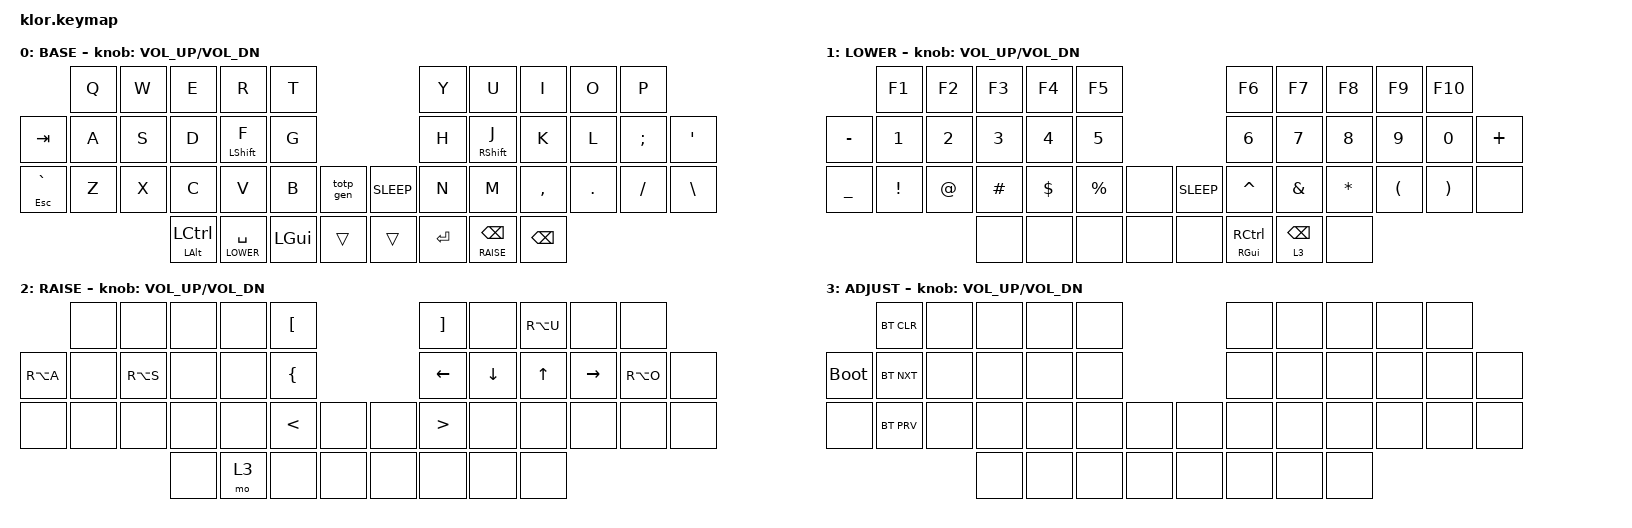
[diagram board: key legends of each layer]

//                               █         █    █            ▄▄▄▀▀▀▀▀▀▄▄▄        █▀▀▀▀▀▀▀▀▀▀█
//                               █        █     █          ▄▀            ▀▄      █          █
//                               █       █      █        ▄▀                ▀▄    █          █
//                               █      █       █        █                  █    █          █
//                               █     █        █       █                    █   █          █
//                               █    █         █       █                    █   █▄▄▄▄▄▄▄▄▄▄█
//                               █   █ █        █       █                    █   █      █
//                               █  █   █       █        █                  █    █       █
//                               █ █     █      █        ▀▄                ▄▀    █        █
//                               ██       █     █          ▀▄            ▄▀      █         █
//                               █         █    █▄▄▄▄▄▄▄▄    ▀▀▀▄▄▄▄▄▄▀▀▀        █          █
//
// ▄▄▄▄▄▄▄▄▄▄▄▄▄▄▄▄▄▄▄▄▄▄▄▄▄▄▄▄▄▄▄▄▄▄▄▄▄▄▄▄▄▄▄▄▄▄▄▄▄▄▄▄▄▄▄▄▄▄▄▄▄▄▄▄▄▄▄▄▄▄▄▄▄▄▄▄▄▄▄▄▄▄▄▄▄▄▄▄▄▄▄▄▄▄▄▄▄▄▄▄▄▄▄▄▄▄▄▄▄▄▄▄▄▄▄▄▄▄▄▄▄▄▄▄▄
       
#include <behaviors.dtsi>
#include <dt-bindings/zmk/keys.h>
#include <dt-bindings/zmk/bt.h>
#include <dt-bindings/zmk/outputs.h>
#include <dt-bindings/zmk/ext_power.h>

#define BASE   0
#define LOWER  1
#define RAISE  2
#define ADJUST 3


/ {
    behaviors {
        hm: homerow_mods {
            compatible = "zmk,behavior-hold-tap";
            label = "HOMEROW_MODS";
            #binding-cells = <2>;
            tapping-term-ms = <150>;
            quick_tap_ms = <0>;
            flavor = "tap-preferred";
            bindings = <&kp>, <&kp>;
        };
    };

   combos {
          compatible = "zmk,combos";
          combo_esc {
            timeout-ms = <50>;
            key-positions = <0 1>;
            bindings = <&kp ESC>;
          };

          ukrainian_x {
              bindings = <&kp LEFT_BRACKET>;
              key-positions = <32 33>;
          };

          ukrainian_i {
              bindings = <&kp RIGHT_BRACKET>;
              key-positions = <34 33>;
          };

          language_switch {
              bindings = <&kp LC(SPACE)>;
              key-positions = <38 41>;
              layers = <0>;
          };
     };

     macros {
    totp: totp {
        compatible = "zmk,behavior-macro";
        label = "TOTP";
        #binding-cells = <0>;
        bindings = <&macro_tap &kp F13 &kp F14 &kp F15>;
    };
};

        keymap {
          
        compatible = "zmk,keymap";

        // ▄▄▄▄▄▄▄▄▄▄▄▄▄▄▄▄▄▄▄▄▄▄▄▄▄▄▄▄▄▄▄▄▄▄▄▄▄▄▄▄▄▄▄▄▄▄▄▄▄▄▄▄▄▄▄▄▄▄▄▄▄▄▄▄▄▄▄▄▄▄▄▄▄▄▄▄▄▄▄▄▄▄▄▄▄▄▄▄▄▄▄▄▄▄▄▄▄▄▄▄▄▄▄▄▄▄▄▄▄▄▄▄▄▄▄▄▄▄▄▄▄▄▄▄▄▄▄▄▄▄▄▄▄▄▄▄▄▄▄▄▄▄

        base_layer {
            // ┌───────────────────────────────────────────────────────────┐

            label = "BASE";

            // └───────────────────────────────────────────────────────────┘
            /*           ┌─────────┬─────────┬─────────┬─────────┬─────────┐                    ┌─────────┬─────────┬─────────┬─────────┬─────────┐
             │    Q    │    W    │    F    │    P    │    G    │                    │    J    │    L    │    U    │    Y    │    ;    │   
   ┌─────────┼─────────┼─────────┼─────────┼─────────┼─────────┤                    ├─────────┼─────────┼─────────┼─────────┼─────────┼─────────┐
   │   TAB   │    A    │    R    │    S    │    T    │    D    │                    │    H    │    N    │    E    │    I    │    O    │    "    │
   ├─────────┼─────────┼─────────┼─────────┼─────────┼─────────┤╭────────╮╭────────╮├─────────┼─────────┼─────────┼─────────┼─────────┼─────────┤
   │   DEL   │    Z    │    X    │    C    │    V    │    B    ││  MUTE  ││PLY/PSE ││    K    │    M    │    ,    │    .    │    /    │    \    │
   └─────────┴─────────┴─────────┼─────────┼─────────┼─────────┼╰────────╯╰────────╯┼─────────┼─────────┼─────────┼─────────┴─────────┴─────────┘
                                 │  CTRL   │  LOWER  │  SPACE  │   ALT   ││ CMD/WIN │  ENTER  │  RAISE  │  BSPCE  │  
                                 └─────────┴─────────┴─────────┴─────────┘└─────────┴─────────┴─────────┴─────────┘ */

            bindings = <
                  &kp Q  &kp W  &kp E               &kp R             &kp T                                  &kp Y    &kp U                &kp I      &kp O    &kp P
&kp TAB           &kp A  &kp S  &kp D               &hm LEFT_SHIFT F  &kp G                                  &kp H    &hm RIGHT_SHIFT J    &kp K      &kp L    &kp SEMICOLON  &kp SQT
&mt ESCAPE GRAVE  &kp Z  &kp X  &kp C               &kp V             &kp B         &totp_gen  &kp K_SLEEP  &kp N    &kp M                &kp COMMA  &kp DOT  &kp FSLH       &kp BSLH
                                &mt LEFT_ALT LCTRL  &lt LOWER SPACE   &kp LEFT_GUI  &trans      &trans       &kp RET  &lt RAISE BACKSPACE  &kp BSPC
            >;

            sensor-bindings = <&inc_dec_kp C_VOL_UP C_VOL_DN>;
        };

        // ▄▄▄▄▄▄▄▄▄▄▄▄▄▄▄▄▄▄▄▄▄▄▄▄▄▄▄▄▄▄▄▄▄▄▄▄▄▄▄▄▄▄▄▄▄▄▄▄▄▄▄▄▄▄▄▄▄▄▄▄▄▄▄▄▄▄▄▄▄▄▄▄▄▄▄▄▄▄▄▄▄▄▄▄▄▄▄▄▄▄▄▄▄▄▄▄▄▄▄▄▄▄▄▄▄▄▄▄▄▄▄▄▄▄▄▄▄▄▄▄▄▄▄▄▄▄▄▄▄▄▄▄▄▄▄▄▄▄▄▄▄▄

        lower_layer {
            // ┌───────────────────────────────────────────────────────────┐

            label = "LOWER";

            // └───────────────────────────────────────────────────────────┘
            /*           ┌─────────┬─────────┬─────────┬─────────┬─────────┐                    ┌─────────┬─────────┬─────────┬─────────┬─────────┐
             │         │         │    UP   │         │    {    │                    │    }    │    7    │    8    │    9    │    +    │
   ┌─────────┼─────────┼─────────┼─────────┼─────────┼─────────┤                    ├─────────┼─────────┼─────────┼─────────┼─────────┼─────────┐
   │         │         │   LEFT  │  DOWN   │  RIGHT  │    [    │                    │    ]    │    4    │    5    │    6    │    -    │         │
   ├─────────┼─────────┼─────────┼─────────┼─────────┼─────────┤╭────────╮╭────────╮├─────────┼─────────┼─────────┼─────────┼─────────┼─────────┤
   │         │         │   P UP  │ C LOCK  │ P DOWN  │    (    ││        ││        ││    )    │    1    │    2    │    3    │    *    │         │
   └─────────┴─────────┴─────────┼─────────┼─────────┼─────────┼╰────────╯╰────────╯┼─────────┼─────────┼─────────┼─────────┴─────────┴─────────┘
                                 │         │         │         │         ││         │         │    0    │         │  
                                 └─────────┴─────────┴─────────┴─────────┘└─────────┴─────────┴─────────┴─────────┘ */

            bindings = <
                &kp F1           &kp F2       &kp F3     &kp F4      &kp F5                           &kp F6                  &kp F7           &kp F8        &kp F9                &kp F10
&kp MINUS       &kp N1           &kp N2       &kp N3     &kp N4      &kp N5                           &kp N6                  &kp N7           &kp N8        &kp N9                &kp N0                 &kp PLUS
&kp UNDERSCORE  &kp EXCLAMATION  &kp AT_SIGN  &kp POUND  &kp DOLLAR  &kp PERCENT  &none  &kp C_SLEEP  &kp CARET               &kp AMPERSAND    &kp ASTERISK  &kp LEFT_PARENTHESIS  &kp RIGHT_PARENTHESIS  &none
                                              &none      &none       &none        &none  &none        &mt RGUI RIGHT_CONTROL  &lt 3 BACKSPACE  &none
            >;

            sensor-bindings = <&inc_dec_kp C_VOL_UP C_VOL_DN>;
        };

        // ▄▄▄▄▄▄▄▄▄▄▄▄▄▄▄▄▄▄▄▄▄▄▄▄▄▄▄▄▄▄▄▄▄▄▄▄▄▄▄▄▄▄▄▄▄▄▄▄▄▄▄▄▄▄▄▄▄▄▄▄▄▄▄▄▄▄▄▄▄▄▄▄▄▄▄▄▄▄▄▄▄▄▄▄▄▄▄▄▄▄▄▄▄▄▄▄▄▄▄▄▄▄▄▄▄▄▄▄▄▄▄▄▄▄▄▄▄▄▄▄▄▄▄▄▄

        raise_layer {
            // ┌───────────────────────────────────────────────────────────┐

            label = "RAISE";

            // └───────────────────────────────────────────────────────────┘
            /*           ┌─────────┬─────────┬─────────┬─────────┬─────────┐                    ┌─────────┬─────────┬─────────┬─────────┬─────────┐
             │         │         │         │         │         │                    │         │         │    Ü    │         │         │
   ┌─────────┼─────────┼─────────┼─────────┼─────────┼─────────┤                    ├─────────┼─────────┼─────────┼─────────┼─────────┼─────────┐
   │    Ä    │         │    ß    │         │         │         │                    │         │         │         │         │    Ö    │         │
   ├─────────┼─────────┼─────────┼─────────┼─────────┼─────────┤╭────────╮╭────────╮├─────────┼─────────┼─────────┼─────────┼─────────┼─────────┤
   │         │         │         │         │         │         ││        ││        ││         │         │         │         │         │         │
   └─────────┴─────────┴─────────┼─────────┼─────────┼─────────┼╰────────╯╰────────╯┼─────────┼─────────┼─────────┼─────────┴─────────┴─────────┘
                                 │ ADJUST  │         │         │         ││         │         │         │         │  
                                 └─────────┴─────────┴─────────┴─────────┘└─────────┴─────────┴─────────┴─────────┘ */

            bindings = <
           &none  &none      &none  &none  &kp LEFT_BRACKET                &kp RIGHT_BRACKET  &none     &kp RA(U)     &none      &none
&kp RA(A)  &none  &kp RA(S)  &none  &none  &kp LEFT_BRACE                  &kp LEFT_ARROW     &kp DOWN  &kp UP_ARROW  &kp RIGHT  &kp RA(O)  &none
&none      &none  &none      &none  &none  &kp LESS_THAN     &none  &none  &kp GREATER_THAN   &none     &none         &none      &none      &none
                             &none  &mo 3  &none             &none  &none  &none              &none     &none
            >;

            sensor-bindings = <&inc_dec_kp C_VOL_UP C_VOL_DN>;
        };

        // ▄▄▄▄▄▄▄▄▄▄▄▄▄▄▄▄▄▄▄▄▄▄▄▄▄▄▄▄▄▄▄▄▄▄▄▄▄▄▄▄▄▄▄▄▄▄▄▄▄▄▄▄▄▄▄▄▄▄▄▄▄▄▄▄▄▄▄▄▄▄▄▄▄▄▄▄▄▄▄▄▄▄▄▄▄▄▄▄▄▄▄▄▄▄▄▄▄▄▄▄▄▄▄▄▄▄▄▄▄▄▄▄▄▄▄▄▄▄▄▄▄▄▄▄▄

        adjust_layer {
            // ┌───────────────────────────────────────────────────────────┐

            label = "ADJUST";

            // └───────────────────────────────────────────────────────────┘
            /*           ┌─────────┬─────────┬─────────┬─────────┬─────────┐                    ┌─────────┬─────────┬─────────┬─────────┬─────────┐
             │         │         │         │         │         │                    │         │         │         │         │         │
   ┌─────────┼─────────┼─────────┼─────────┼─────────┼─────────┤                    ├─────────┼─────────┼─────────┼─────────┼─────────┼─────────┐
   │         │         │         │         │         │         │                    │         │         │         │         │         │         │
   ├─────────┼─────────┼─────────┼─────────┼─────────┼─────────┤╭────────╮╭────────╮├─────────┼─────────┼─────────┼─────────┼─────────┼─────────┤
   │         │         │         │         │         │         ││        ││        ││         │         │         │         │         │         │
   └─────────┴─────────┴─────────┼─────────┼─────────┼─────────┼╰────────╯╰────────╯┼─────────┼─────────┼─────────┼─────────┴─────────┴─────────┘
                                 │         │         │         │         ││         │         │         │         │  
                                 └─────────┴─────────┴─────────┴─────────┘└─────────┴─────────┴─────────┴─────────┘ */

            bindings = <
             &bt BT_CLR  &none  &none  &none  &none                &none  &none  &none  &none  &none
&bootloader  &bt BT_NXT  &none  &none  &none  &none                &none  &none  &none  &none  &none  &none
&none        &bt BT_PRV  &none  &none  &none  &none  &none  &none  &none  &none  &none  &none  &none  &none
                                &none  &none  &none  &none  &none  &none  &none  &none
            >;

            sensor-bindings = <&inc_dec_kp C_VOL_UP C_VOL_DN>;
        };
};
